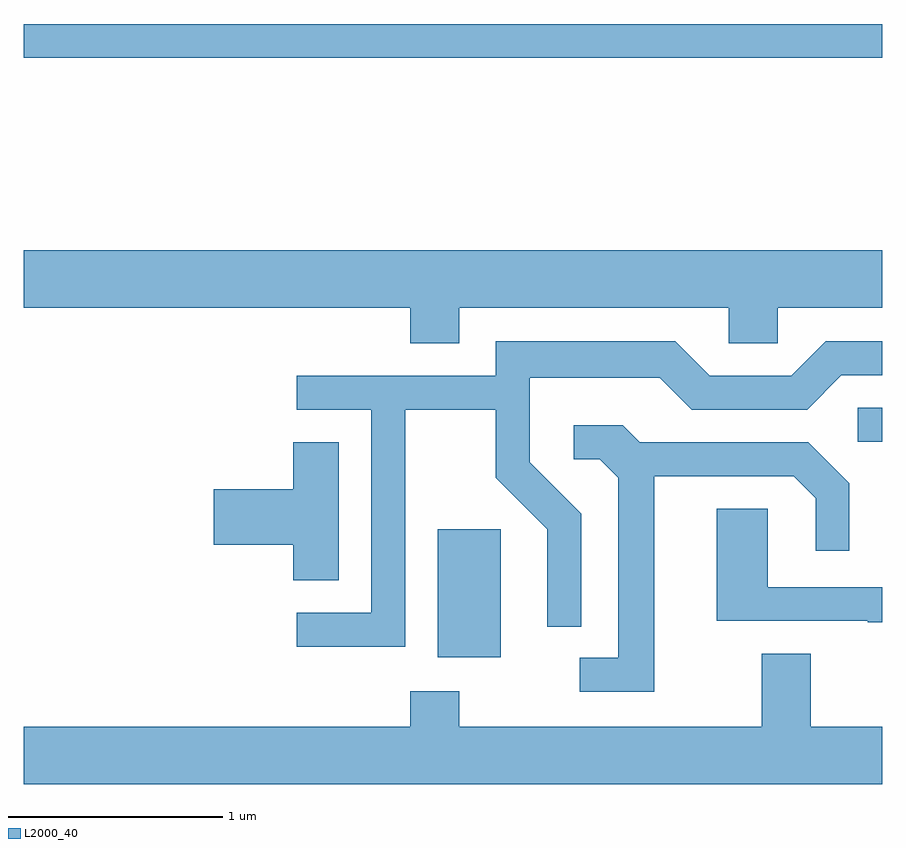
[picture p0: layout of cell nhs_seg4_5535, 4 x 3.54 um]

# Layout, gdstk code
import gdstk
lib = gdstk.Library(unit=1e-6, precision=1e-09)
def R(c, l, rs):  # rectangles x0, y0, x1, y1
    for r in rs: c.add(gdstk.rectangle(r[:2], r[2:], *l))
def P(c, l, *ps):  # polygons
    for p in ps: c.add(gdstk.Polygon(p, *l))
L2000_40 = (2000, 40)

nhs_seg4_5535 = lib.new_cell('nhs_seg4_5535')
R(nhs_seg4_5535, L2000_40, [(349.541,1308.646,349.834,1309.244), (351.498,1309.651,351.611,1309.809), (347.611,1311.441,351.611,1311.599)])
P(nhs_seg4_5535, L2000_40, [(349.639,1310.276),(350.896,1310.276),(350.896,1310.111),(351.124,1310.111),(351.124,1310.276),(351.611,1310.276),(351.611,1310.544),(347.611,1310.544),(347.611,1310.276),(349.411,1310.276),(349.411,1310.111),(349.639,1310.111)],
  [(349.389,1309.801),(349.811,1309.801),(349.811,1309.484),(350.051,1309.244),(350.051,1308.788),(350.209,1308.788),(350.209,1309.317),(349.969,1309.557),(349.969,1309.951),(350.574,1309.951),(350.724,1309.801),(351.262,1309.801),(351.422,1309.961),(351.611,1309.961),(351.611,1310.119),(351.349,1310.119),(351.189,1309.959),(350.807,1309.959),(350.647,1310.119),(349.811,1310.119),(349.811,1309.959),(348.883,1309.959),(348.883,1309.801),(349.231,1309.801),(349.231,1308.854),(348.883,1308.854),(348.883,1308.696),(349.389,1308.696)],
  [(350.549,1309.491),(351.199,1309.491),(351.301,1309.389),(351.301,1309.143),(351.459,1309.143),(351.459,1309.457),(351.267,1309.649),(350.482,1309.649),(350.402,1309.729),(350.173,1309.729),(350.173,1309.571),(350.294,1309.571),(350.381,1309.484),(350.381,1308.644),(350.203,1308.644),(350.203,1308.486),(350.549,1308.486)],
  [(349.079,1309.649),(348.866,1309.649),(348.866,1309.429),(348.496,1309.429),(348.496,1309.171),(348.866,1309.171),(348.866,1309.006),(349.079,1309.006)],
  [(351.611,1308.974),(351.079,1308.974),(351.079,1309.339),(350.841,1309.339),(350.841,1308.816),(351.545,1308.816),(351.545,1308.811),(351.611,1308.811)],
  [(351.611,1308.324),(351.279,1308.324),(351.279,1308.664),(351.051,1308.664),(351.051,1308.324),(349.639,1308.324),(349.639,1308.489),(349.411,1308.489),(349.411,1308.324),(347.611,1308.324),(347.611,1308.056),(351.611,1308.056)])

lib.write_gds('nhs_seg4_5535.gds')
